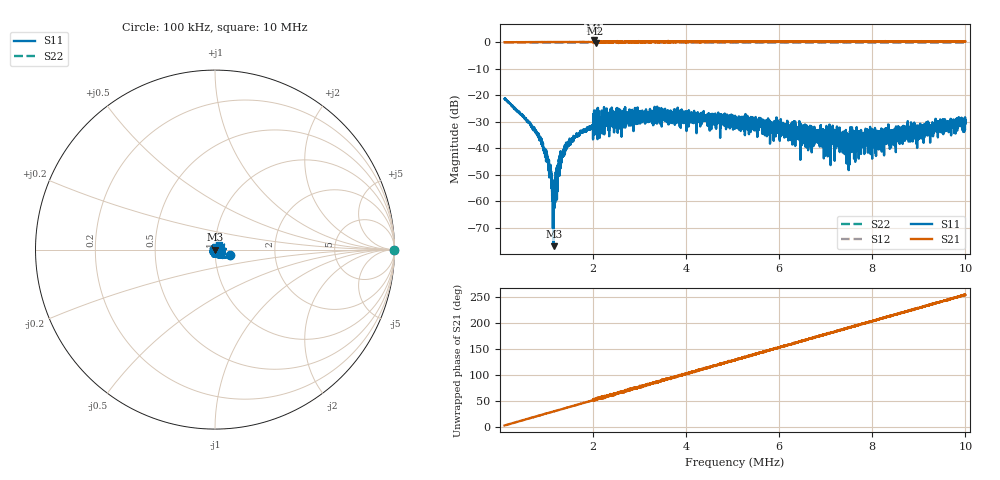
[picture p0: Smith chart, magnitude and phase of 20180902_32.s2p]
! Anritsu VNA Master:  Model: MS2026C/19
! SN:  1815009
! /card0/usr/20180902_32.s2p
! Existing Calibration Information:
! TYPE:  Current Settings,  Active Cal Settings
! TIME:  09/02/2018 07:18:58 PM,  09/02/2018 11:58:48 AM
! INTERNAL TEMP:  51.5 C,  48.8 C
! # POINTS:  4001,  4001
! START FREQ:  100.000 kHz,  100.000 kHz
! STOP FREQ:  10.000 MHz,  10.000 MHz
! SOURCE POWER:  Low,  Low
! IFBW:  500 Hz,  500 Hz
! AVG FACTOR:  1 ,  1
! REF PLANE 1:  0 mm,  0 mm
! REF PLANE 2:  0 mm,  0 mm
! CAL TYPE:  1P2P S11,S21,  1P2P S11,S21
! CAL METHOD:  SOLT,  SOLT
! CAL LINE TYPE:  Coax,  Coax
! DUT PORT 1:  N-Conn(M),  N-Conn(M)
! DUT PORT 2:  N-Conn(M),  N-Conn(M)
! CAL STATUS:  OK: Accuracy High,  --
# GHZ S RI R 50.0
! FREQ.GHZ  S11RE  S11IM  S21RE  S21IM  S12RE  S12IM  S22RE  S22IM
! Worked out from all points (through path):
!   4001 points, 100 kHz to 10 MHz, reference 50 ohm
!   highest |S21| = 0.76 dB at 2.013 MHz (marker M1); lowest = -0.4 dB at 2.055 MHz (marker M2)
!   lowest |S11| = -76.9 dB at 1.154 MHz (marker M3), VSWR 1.00, Z = 50 - j0.0143 ohm
!   |S11| at or under -10 dB: start of sweep to end of sweep
!   |S22| runs from 0.0 to 0.0 dB; largest |S21 - S12| = 2.1
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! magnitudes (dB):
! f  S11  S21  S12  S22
! 100 kHz  -21.2  0.1  0.0  0.0
! 607.4 kHz  -30.0  0.1  0.0  0.0
! 869.7 kHz  -35.8  0.1  0.0  0.0
! 1.045 MHz  -44.1  0.2  0.0  0.0
! 1.127 MHz  -58.7  0.2  0.0  0.0
! 1.154 MHz  -76.9  0.2  0.0  0.0
! 1.187 MHz  -60.4  0.2  0.0  0.0
! 1.241 MHz  -46.4  0.2  0.0  0.0
! 1.29 MHz  -44.2  0.2  0.0  0.0
! 1.377 MHz  -40.2  0.2  0.0  0.0
! 1.498 MHz  -36.2  0.2  0.0  0.0
! 1.751 MHz  -34.0  0.2  0.0  0.0
! 2.013 MHz  -30.7  0.8  0.0  0.0
! 2.055 MHz  -33.1  -0.4  0.0  0.0
! 3.402 MHz  -26.6  0.1  0.0  0.0
! 5.05 MHz  -30.4  0.2  0.0  0.0
! 6.701 MHz  -34.9  0.3  0.0  0.0
! 7.277 MHz  -35.3  0.4  0.0  0.0
! 7.468 MHz  -42.3  0.3  0.0  0.0
! 7.622 MHz  -33.9  0.4  0.0  0.0
! 8.352 MHz  -33.8  0.3  0.0  0.0
! 10 MHz  -29.3  0.4  0.0  0.0
